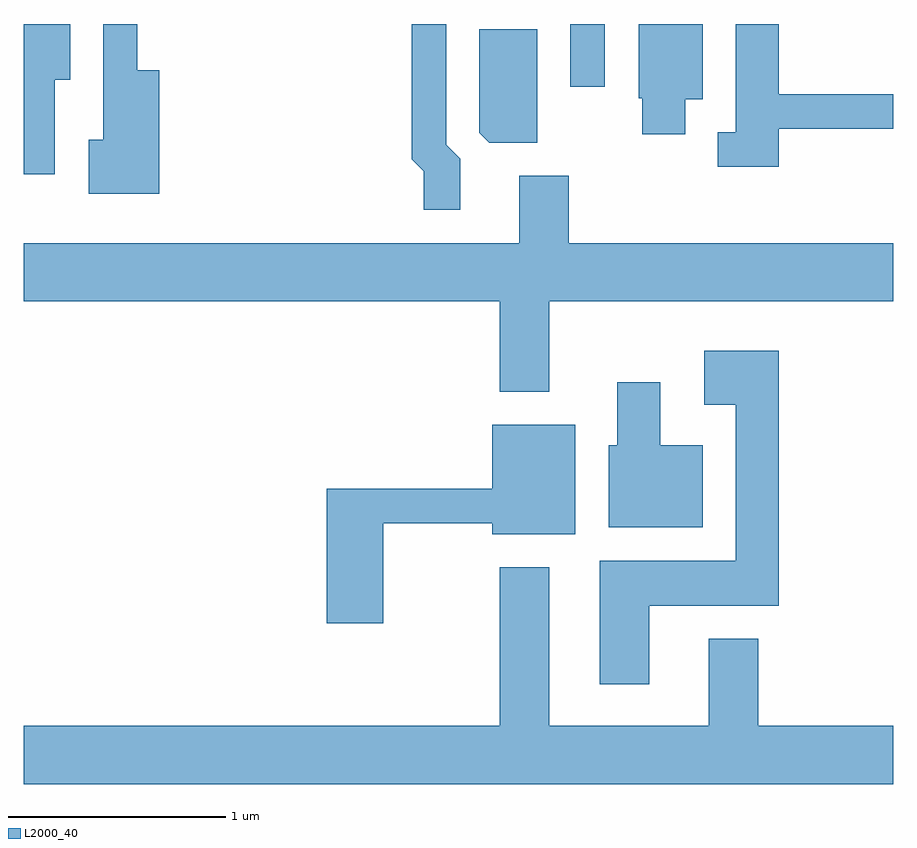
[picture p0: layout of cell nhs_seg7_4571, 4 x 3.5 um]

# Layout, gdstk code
import gdstk
lib = gdstk.Library(unit=1e-6, precision=1e-09)
def R(c, l, rs):  # rectangles x0, y0, x1, y1
    for r in rs: c.add(gdstk.rectangle(r[:2], r[2:], *l))
def P(c, l, *ps):  # polygons
    for p in ps: c.add(gdstk.Polygon(p, *l))
L2000_40 = (2000, 40)

nhs_seg7_4571 = lib.new_cell('nhs_seg7_4571')
R(nhs_seg7_4571, L2000_40, [(328.126,1721.963,328.284,1722.252)])
P(nhs_seg7_4571, L2000_40, [(329.084,1721.771),(329.611,1721.771),(329.611,1721.929),(329.084,1721.929),(329.084,1722.252),(328.886,1722.252),(328.886,1721.754),(328.803,1721.754),(328.803,1721.596),(329.084,1721.596)],
  [(327.619,1721.632),(327.554,1721.697),(327.554,1722.252),(327.396,1722.252),(327.396,1721.629),(327.451,1721.574),(327.451,1721.398),(327.619,1721.398)],
  [(326.234,1722.039),(326.134,1722.039),(326.134,1722.252),(325.976,1722.252),(325.976,1721.719),(325.911,1721.719),(325.911,1721.471),(326.234,1721.471)],
  [(328.654,1721.906),(328.734,1721.906),(328.734,1722.252),(328.441,1722.252),(328.441,1721.91),(328.456,1721.91),(328.456,1721.746),(328.654,1721.746)],
  [(325.754,1721.996),(325.824,1721.996),(325.824,1722.252),(325.611,1722.252),(325.611,1721.561),(325.754,1721.561)],
  [(327.974,1722.229),(327.706,1722.229),(327.706,1721.752),(327.752,1721.706),(327.974,1721.706)],
  [(325.611,1720.976),(327.801,1720.976),(327.801,1720.561),(328.029,1720.561),(328.029,1720.976),(329.611,1720.976),(329.611,1721.244),(328.119,1721.244),(328.119,1721.554),(327.891,1721.554),(327.891,1721.244),(325.611,1721.244)],
  [(328.489,1719.576),(329.084,1719.576),(329.084,1720.749),(328.741,1720.749),(328.741,1720.501),(328.886,1720.501),(328.886,1719.784),(328.261,1719.784),(328.261,1719.216),(328.489,1719.216)],
  [(328.734,1720.314),(328.539,1720.314),(328.539,1720.604),(328.341,1720.604),(328.341,1720.314),(328.301,1720.314),(328.301,1719.936),(328.734,1719.936)],
  [(327.264,1719.956),(327.766,1719.956),(327.766,1719.906),(328.149,1719.906),(328.149,1720.409),(327.766,1720.409),(327.766,1720.114),(327.006,1720.114),(327.006,1719.496),(327.264,1719.496)],
  [(329.611,1719.024),(328.989,1719.024),(328.989,1719.424),(328.761,1719.424),(328.761,1719.024),(328.029,1719.024),(328.029,1719.754),(327.801,1719.754),(327.801,1719.024),(325.611,1719.024),(325.611,1718.756),(329.611,1718.756)])

lib.write_gds('nhs_seg7_4571.gds')
